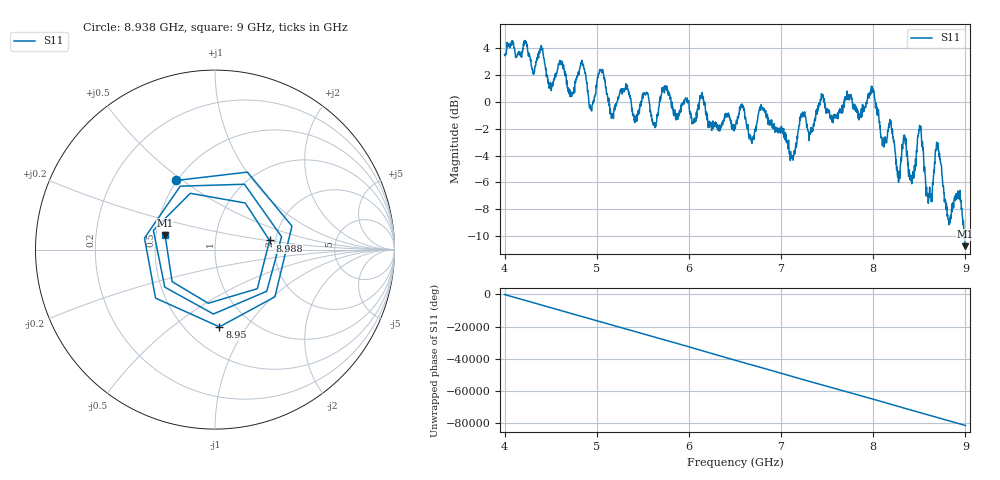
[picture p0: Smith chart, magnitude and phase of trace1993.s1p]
! Created with skrf 1.8.0 (http://scikit-rf.org).
# Hz S RI R 50.0
!freq ReS11 ImS11
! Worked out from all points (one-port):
!   1601 points, 4 GHz to 9 GHz, reference 50 ohm
!   lowest |S11| = -10.7 dB at 9 GHz (marker M1), VSWR 1.82, Z = 27.9 + j4.97 ohm
!   |S11| at or under -10 dB: 8.983361 GHz to 8.989885 GHz (6.524 MHz wide, 0.0726 % of centre); 8.991715 GHz to end of sweep
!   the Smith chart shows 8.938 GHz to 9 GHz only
!   S11 on the Smith chart (normalised r, x): 8.938 GHz: 0.49, +0.47; 8.95 GHz: 0.72, -0.76; 8.988 GHz: 1.86, +0.21; 9 GHz: 0.56, +0.10
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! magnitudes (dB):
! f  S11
! 4 GHz  3.5
! 4.5 GHz  1.3
! 4.625 GHz  3.0
! 4.722 GHz  0.4
! 4.847 GHz  2.9
! 4.938 GHz  -0.4
! 5.041 GHz  2.4
! 5.159 GHz  -1.2
! 5.25 GHz  0.7
! 5.875 GHz  -1.1
! 6.5 GHz  -1.9
! 6.688 GHz  -2.8
! 6.794 GHz  -0.5
! 7.125 GHz  -4.3
! 7.234 GHz  -0.8
! 7.75 GHz  0.4
! 7.991 GHz  0.8
! 8.269 GHz  -5.2
! 8.375 GHz  -4.7
! 8.428 GHz  -5.6
! 8.506 GHz  -1.9
! 8.606 GHz  -6.8
! 8.697 GHz  -3.3
! 8.812 GHz  -8.7
! 8.938 GHz  -7.1
! 8.95 GHz  -7.3
! 8.988 GHz  -10.2
! 9 GHz  -10.7
